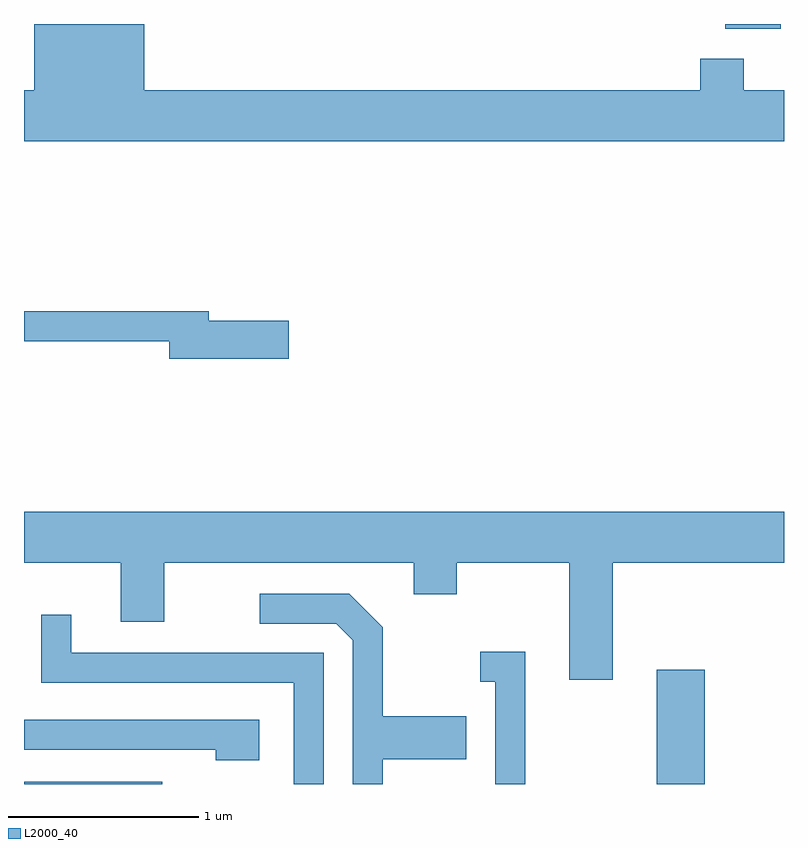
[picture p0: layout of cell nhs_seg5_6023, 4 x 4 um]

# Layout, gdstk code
import gdstk
lib = gdstk.Library(unit=1e-6, precision=1e-09)
def R(c, l, rs):  # rectangles x0, y0, x1, y1
    for r in rs: c.add(gdstk.rectangle(r[:2], r[2:], *l))
def P(c, l, *ps):  # polygons
    for p in ps: c.add(gdstk.Polygon(p, *l))
L2000_40 = (2000, 40)

nhs_seg5_6023 = lib.new_cell('nhs_seg5_6023')
R(nhs_seg5_6023, L2000_40, [(363.611,1460.072,364.338,1460.084), (366.941,1460.072,367.194,1460.674), (367.301,1464.046,367.594,1464.072)])
P(nhs_seg5_6023, L2000_40, [(367.611,1463.724),(367.399,1463.724),(367.399,1463.889),(367.171,1463.889),(367.171,1463.724),(364.244,1463.724),(364.244,1464.072),(363.666,1464.072),(363.666,1463.724),(363.611,1463.724),(363.611,1463.456),(367.611,1463.456)],
  [(365.004,1462.509),(364.584,1462.509),(364.584,1462.559),(363.611,1462.559),(363.611,1462.401),(364.376,1462.401),(364.376,1462.311),(365.004,1462.311)],
  [(366.709,1461.236),(367.611,1461.236),(367.611,1461.504),(363.611,1461.504),(363.611,1461.236),(364.121,1461.236),(364.121,1460.926),(364.349,1460.926),(364.349,1461.236),(365.661,1461.236),(365.661,1461.071),(365.889,1461.071),(365.889,1461.236),(366.481,1461.236),(366.481,1460.621),(366.709,1460.621)],
  [(365.499,1460.201),(365.939,1460.201),(365.939,1460.429),(365.499,1460.429),(365.499,1460.897),(365.322,1461.074),(364.853,1461.074),(364.853,1460.916),(365.254,1460.916),(365.341,1460.829),(365.341,1460.072),(365.499,1460.072)],
  [(365.189,1460.764),(363.859,1460.764),(363.859,1460.963),(363.701,1460.963),(363.701,1460.606),(365.031,1460.606),(365.031,1460.072),(365.189,1460.072)],
  [(366.249,1460.769),(366.013,1460.769),(366.013,1460.611),(366.091,1460.611),(366.091,1460.072),(366.249,1460.072)],
  [(364.849,1460.409),(363.611,1460.409),(363.611,1460.251),(364.621,1460.251),(364.621,1460.196),(364.849,1460.196)])

lib.write_gds('nhs_seg5_6023.gds')
